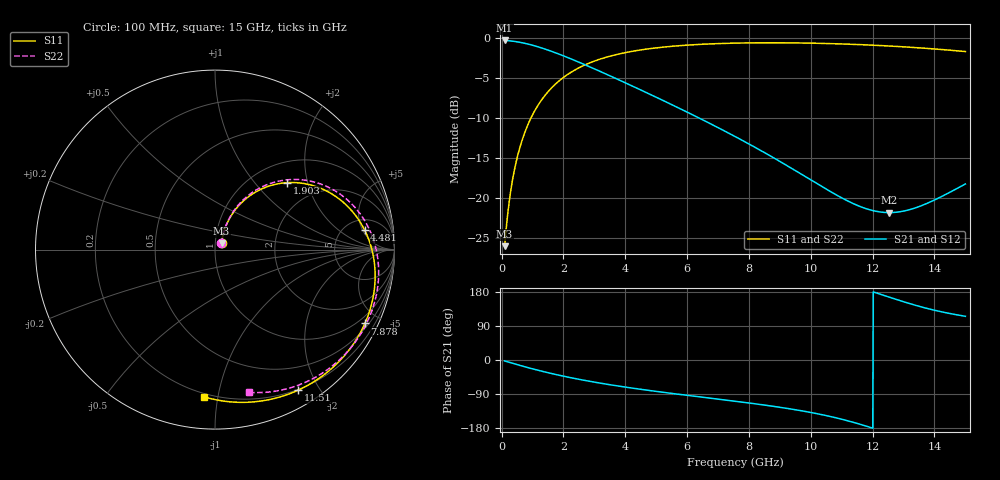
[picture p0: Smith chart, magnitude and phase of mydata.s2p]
! My data
# GHZ S MA R 50
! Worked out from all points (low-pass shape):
!   1001 points, 100 MHz to 15 GHz, reference 50 ohm
!   highest |S21| = -0.31 dB at 100 MHz (marker M1); lowest = -21.8 dB at 12.54 GHz (marker M2)
!   |S21| within 3 dB of the highest: start of sweep to 2.676 GHz
!   lowest |S11| = -26.0 dB at 100 MHz (marker M3), VSWR 1.11, Z = 53.6 + j3.69 ohm
!   |S11| at or under -10 dB: start of sweep to 951.8 MHz
!   |S22| runs from -26.0 to -0.5 dB; largest |S21 - S12| = 0.00041
!   S11 on the Smith chart (normalised r, x): 100 MHz: 1.07, +0.07; 1.903 GHz: 1.41, +1.50; 4.481 GHz: 7.42, +5.51; 7.878 GHz: 0.68, -4.19; 11.51 GHz: 0.19, -1.74; 15 GHz: 0.18, -0.91
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0.1  0.05002 43.3  0.9648 -2.5  0.9647 -2.5  0.04998 43.6
0.2639  0.09971 62.1  0.9596 -6.4  0.9594 -6.4  0.09996 62.4
0.3831  0.1387 64.9  0.9537 -9.3  0.9535 -9.3  0.139 65.3
0.5321  0.1872 65.0  0.9441 -12.8  0.9439 -12.8  0.1876 65.5
0.7109  0.2438 63.2  0.9297 -16.9  0.9295 -16.9  0.2444 63.9
0.9493  0.3155 59.6  0.9064 -22.2  0.9062 -22.2  0.3161 60.6
1.2175  0.3898 55.0  0.8759 -27.8  0.8758 -27.8  0.3905 56.2
1.9029  0.5476 42.9  0.7868 -41.0  0.7867 -40.9  0.5484 44.9
2.5883  0.6634 32.0  0.6946 -52.3  0.6945 -52.3  0.6645 34.7
3.5121  0.7699 19.1  0.5796 -65.3  0.5794 -65.3  0.7713 22.8
4.4806  0.8407 7.4  0.4755 -77.1  0.4753 -77.1  0.8424 12.2
5.0766  0.8704 0.9  0.4197 -83.7  0.4196 -83.6  0.8724 6.4
6.2686  0.9087 -11.1  0.3246 -95.9  0.3246 -95.9  0.9115 -4.3
7.5649  0.9287 -23.4  0.2416 -108.9  0.2416 -109.0  0.9329 -14.9
7.8778  0.931 -26.2  0.2242 -112.1  0.2242 -112.2  0.9356 -17.4
8.9208  0.9333 -35.7  0.1728 -123.8  0.1728 -123.9  0.9394 -25.5
10.0383  0.9279 -45.8  0.1285 -139.0  0.1285 -139.0  0.9355 -34.1
11.5134  0.91 -59.4  0.0898 -167.7  0.08989 -167.7  0.9186 -45.7
12.5266  0.891 -69.1  0.08109 166.2  0.08099 166.2  0.8991 -54.1
12.5415  0.8907 -69.2  0.08109 165.8  0.08098 165.8  0.8987 -54.2
13.5249  0.867 -79.0  0.08874 141.2  0.08838 141.1  0.8725 -62.8
15  0.8225 -94.2  0.1224 115.3  0.1223 115.3  0.8176 -76.6
